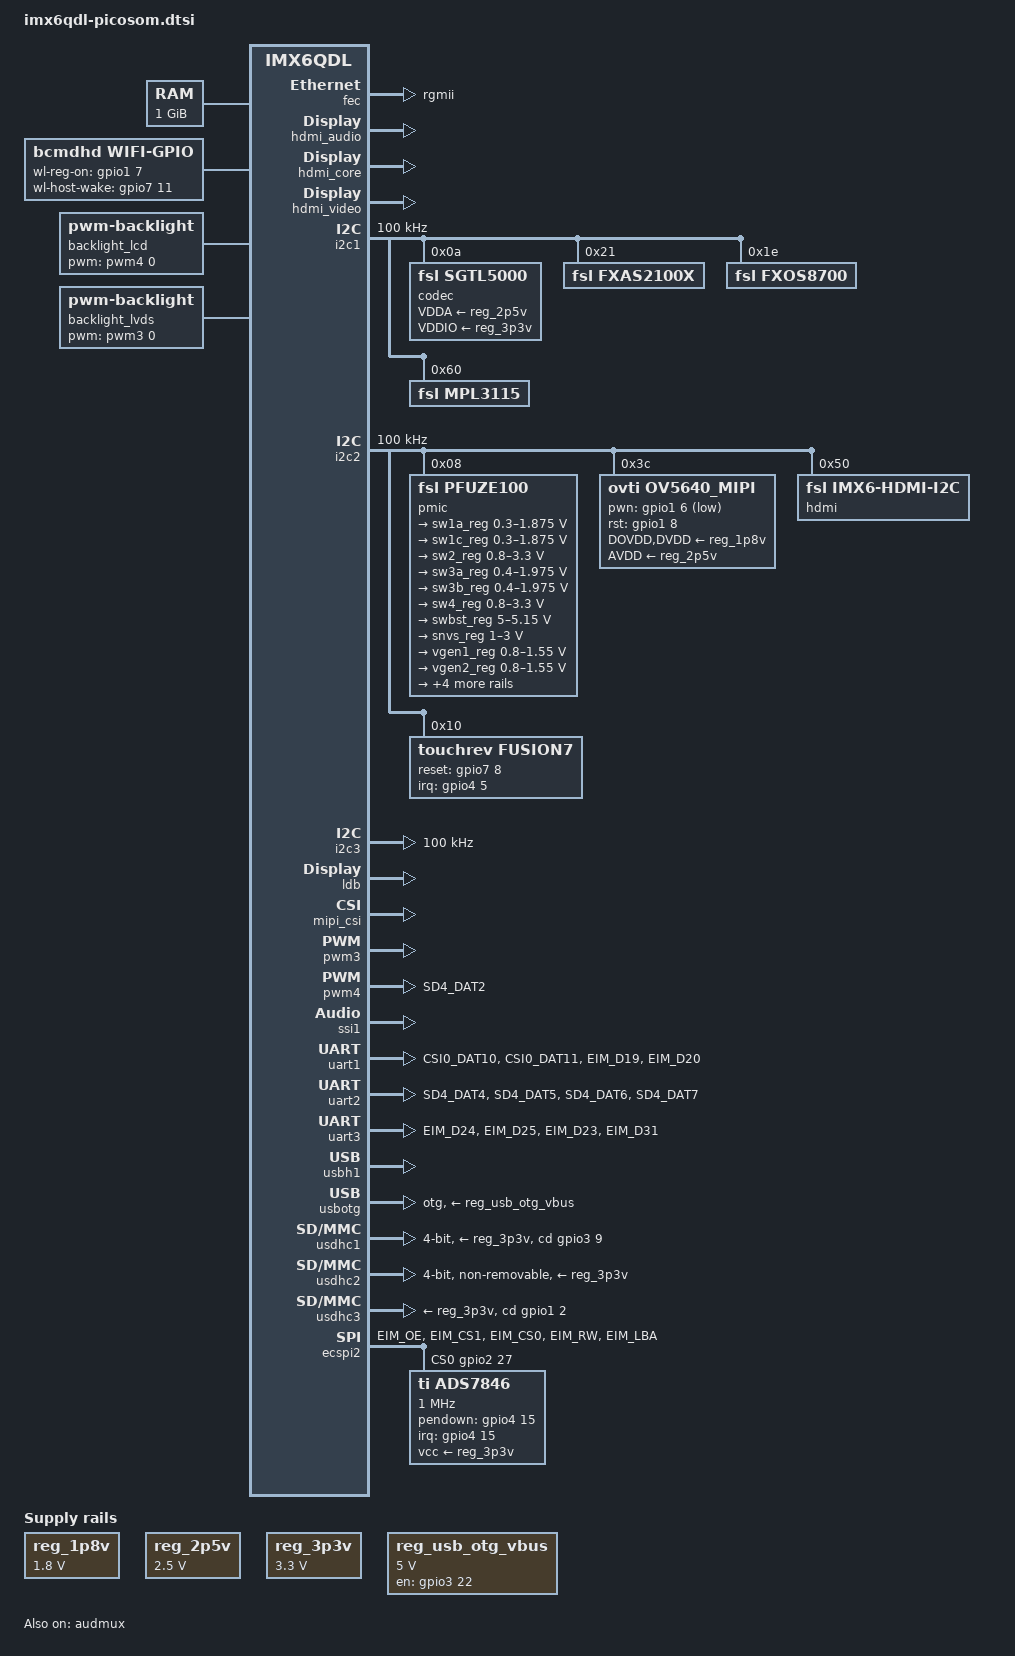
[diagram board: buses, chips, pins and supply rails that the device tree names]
/*
 * Copyright 2015 Technexion Ltd.
 * Copyright 2012 Freescale Semiconductor, Inc.
 * Copyright 2011 Linaro Ltd.
 *
 * The code contained herein is licensed under the GNU General Public
 * License. You may obtain a copy of the GNU General Public License
 * Version 2 or later at the following locations:
 *
 * http://www.opensource.org/licenses/gpl-license.html
 * http://www.gnu.org/copyleft/gpl.html
 */

/ {
	aliases {
		mxcfb0 = &mxcfb1;
		mxcfb1 = &mxcfb2;
		mxcfb2 = &mxcfb3;
		mxcfb3 = &mxcfb4;
	};

	memory {
		reg = <0x10000000 0x40000000>;
	};

	regulators {
		compatible = "simple-bus";

		reg_1p8v: 1p8v {
			compatible = "regulator-fixed";
			regulator-name = "1P8V";
			regulator-min-microvolt = <1800000>;
			regulator-max-microvolt = <1800000>;
			regulator-always-on;
		};

		reg_2p5v: 2p5v {
			compatible = "regulator-fixed";
			regulator-name = "2P5V";
			regulator-min-microvolt = <2500000>;
			regulator-max-microvolt = <2500000>;
			regulator-always-on;
		};

		reg_3p3v: 3p3v {
			compatible = "regulator-fixed";
			regulator-name = "3P3V";
			regulator-min-microvolt = <3300000>;
			regulator-max-microvolt = <3300000>;
			regulator-always-on;
		};

		reg_usb_otg_vbus: usb_otg_vbus {
			compatible = "regulator-fixed";
			regulator-name = "usb_otg_vbus";
			regulator-min-microvolt = <5000000>;
			regulator-max-microvolt = <5000000>;
			gpio = <&gpio3 22 0>;
			enable-active-high;
		};
	};

	sound {
		compatible = "fsl,picosom-imx6-sgtl5000",
                             "fsl,imx-audio-sgtl5000";
		model = "picosom-imx6-sgtl5000";
		cpu-dai = <&ssi1>;
		audio-codec = <&codec>;
		audio-routing =
			"MIC_IN", "Mic Jack",
			"Mic Jack", "Mic Bias",
			"Headphone Jack", "HP_OUT";
		mux-int-port = <1>;
		mux-ext-port = <3>;
	};

        sound-spdif {
                compatible = "fsl,imx-audio-spdif";
                model = "imx-spdif";
                spdif-controller = <&spdif>;
                spdif-out;
        };

	sound-hdmi {
		compatible = "fsl,imx6q-audio-hdmi",
			     "fsl,imx-audio-hdmi";
		model = "imx-audio-hdmi";
		hdmi-controller = <&hdmi_audio>;
	};

	wifi {
		compatible = "bcmdhd,wifi-gpio";
		pinctrl-0 = <&pinctrl_wifi_ctrl>;
		wl-reg-on = <&gpio1 7 0>;
		wl-host-wake = <&gpio7 11 0>;
	};

	rfkill {
		compatible = "bcm,bcm43xx_rfkill";
		pinctrl-names = "default";
		pinctrl-0 = <&pinctrl_bt_ctrl>;
		bluetooth-on = <&gpio7 12 0>;
		bluetooth-reg-on = <&gpio7 12 0>;
		bluetooth-wake = <&gpio1 4 0>;
	};

	mxcfb1: fb@0 {
		compatible = "fsl,mxc_sdc_fb";
		disp_dev = "hdmi";
		interface_pix_fmt = "RGB24";
		mode_str ="1920x1080M@60";
		default_bpp = <32>;
		int_clk = <0>;
		late_init = <0>;
		status = "disabled";
	};

	mxcfb2: fb@1 {
		compatible = "fsl,mxc_sdc_fb";
		disp_dev = "ldb";
		interface_pix_fmt = "RGB666";
		default_bpp = <24>;
		int_clk = <0>;
		late_init = <0>;
		status = "disabled";
	};

	mxcfb3: fb@2 {
		compatible = "fsl,mxc_sdc_fb";
		disp_dev = "lcd";
		interface_pix_fmt = "RGB565";
		mode_str ="CLAA-WVGA";
		default_bpp = <16>;
		int_clk = <0>;
		late_init = <0>;
		status = "disabled";
	};

	mxcfb4: fb@3 {
		compatible = "fsl,mxc_sdc_fb";
		disp_dev = "ldb";
		interface_pix_fmt = "RGB666";
		mode_str ="LDB-XGA";
		default_bpp = <16>;
		int_clk = <0>;
		late_init = <0>;
		status = "disabled";
	};

	lcd@0 {
		compatible = "fsl,lcd";
		ipu_id = <0>;
		disp_id = <0>;
		default_ifmt = "RGB565";
		pinctrl-names = "default";
		pinctrl-0 = <&pinctrl_ipu1_1>;
		status = "okay";
	};

	backlight_lcd {
		compatible = "pwm-backlight";
		pwms = <&pwm4 0 5000000>;
		brightness-levels = <0 4 8 16 32 64 128 255>;
		default-brightness-level = <7>;
	};

	backlight_lvds {
		compatible = "pwm-backlight";
		pwms = <&pwm3 0 5000000>;
		brightness-levels = <0 4 8 16 32 64 128 255>;
		default-brightness-level = <7>;
	};

	v4l2_cap_0 {
		compatible = "fsl,imx6q-v4l2-capture";
		ipu_id = <0>;
		csi_id = <0>;
		mclk_source = <0>;
		status = "okay";
	};

	v4l2_out {
		compatible = "fsl,mxc_v4l2_output";
		status = "okay";
	};

};


&audmux {
	pinctrl-names = "default";
	pinctrl-0 = <&pinctrl_audmux_2>;
	status = "okay";
};


&fec {
	pinctrl-names = "default";
	pinctrl-0 = <&pinctrl_enet_3>;
	phy-mode = "rgmii";
	status = "okay";
};

&hdmi_audio {
	status = "okay";
};

&hdmi_core {
	ipu_id = <0>;
	disp_id = <0>;
	status = "okay";
};

&hdmi_video {
	fsl,phy_reg_vlev = <0x0294>;
	fsl,phy_reg_cksymtx = <0x800d>;
	status = "okay";
};

&i2c1 {
	clock-frequency = <100000>;
	pinctrl-names = "default";
	pinctrl-0 = <&pinctrl_i2c1_1>;
	status = "okay";

	codec: sgtl5000@0a {
		compatible = "fsl,sgtl5000";
		reg = <0x0a>;
		clocks = <&clks 201>;
		VDDA-supply = <&reg_2p5v>;
		VDDIO-supply = <&reg_3p3v>;
	};

	fxas2100x@21 {
		compatible = "fsl,fxas2100x";
		reg = <0x21>;
	};

	fxos8700@1e {
		compatible = "fsl,fxos8700";
		reg = <0x1e>;
	};

	mpl3115@60 {
		compatible = "fsl,mpl3115";
		reg = <0x60>;
	};
};

&i2c2 {
	clock-frequency = <100000>;
	pinctrl-names = "default";
	pinctrl-0 = <&pinctrl_i2c2_2>;
	status = "okay";

	pmic: pfuze100@08 {
		compatible = "fsl,pfuze100";
		reg = <0x08>;

		regulators {
			sw1a_reg: sw1ab {
				regulator-min-microvolt = <300000>;
				regulator-max-microvolt = <1875000>;
				regulator-boot-on;
				regulator-always-on;
				regulator-ramp-delay = <6250>;
			};

			sw1c_reg: sw1c {
				regulator-min-microvolt = <300000>;
				regulator-max-microvolt = <1875000>;
				regulator-boot-on;
				regulator-always-on;
				regulator-ramp-delay = <6250>;
			};

			sw2_reg: sw2 {
				regulator-min-microvolt = <800000>;
				regulator-max-microvolt = <3300000>;
				regulator-boot-on;
				regulator-always-on;
			};

			sw3a_reg: sw3a {
				regulator-min-microvolt = <400000>;
				regulator-max-microvolt = <1975000>;
				regulator-boot-on;
				regulator-always-on;
			};

			sw3b_reg: sw3b {
				regulator-min-microvolt = <400000>;
				regulator-max-microvolt = <1975000>;
				regulator-boot-on;
				regulator-always-on;
			};

			sw4_reg: sw4 {
				regulator-min-microvolt = <800000>;
				regulator-max-microvolt = <3300000>;
			};

			swbst_reg: swbst {
				regulator-min-microvolt = <5000000>;
				regulator-max-microvolt = <5150000>;
			};

			snvs_reg: vsnvs {
				regulator-min-microvolt = <1000000>;
				regulator-max-microvolt = <3000000>;
				regulator-boot-on;
				regulator-always-on;
			};

			vref_reg: vrefddr {
				regulator-boot-on;
				regulator-always-on;
			};

			vgen1_reg: vgen1 {
				regulator-min-microvolt = <800000>;
				regulator-max-microvolt = <1550000>;
			};

			vgen2_reg: vgen2 {
				regulator-min-microvolt = <800000>;
				regulator-max-microvolt = <1550000>;
				regulator-microvolts = <1500000>;
				regulator-microvolt = <1500000>;
				regulator-boot-on;
				regulator-always-on;
			};

			vgen3_reg: vgen3 {
				regulator-min-microvolt = <1800000>;
				regulator-max-microvolt = <3300000>;
			};

			vgen4_reg: vgen4 {
				regulator-min-microvolt = <1800000>;
				regulator-max-microvolt = <3300000>;
				regulator-always-on;
			};

			vgen5_reg: vgen5 {
				regulator-min-microvolt = <1800000>;
				regulator-max-microvolt = <3300000>;
				regulator-always-on;
			};

			vgen6_reg: vgen6 {
				regulator-min-microvolt = <1800000>;
				regulator-max-microvolt = <3300000>;
				regulator-always-on;
			};
		};
	};

	ov5640_mipi: ov5640_mipi@3c {
		compatible = "ovti,ov5640_mipi";
		reg = <0x3c>;
		clocks = <&clks 200>;
		clock-names = "csi_mclk";
		DOVDD-supply = <&reg_1p8v>;
		AVDD-supply = <&reg_2p5v>;
		DVDD-supply = <&reg_1p8v>;
		pwn-gpios = <&gpio1 6 1>;
		rst-gpios = <&gpio1 8 0>;
		ipu_id = <0>;
		csi_id = <0>;
		mclk = <24000000>;
		mclk_source = <0>;
	};

		hdmi: edid@50 {
		compatible = "fsl,imx6-hdmi-i2c";
		reg = <0x50>;
	};

	fusion7: fusion7@10 {
		compatible = "touchrev,fusion7";
		reg = <0x10>; /* The reg property describes the address of the device's resources within the address space defined by its parent bus.  */
		pinctrl-0 = <&pinctrl_gpio>;
		pinctrl-names = "default";
		interrupt-parent = <&gpio4>;
		interrupts = <5 0>;
		reset-gpios=<&gpio7 8 0>; /*pin264  SD3_RST GPIO(7, 8)   gpio200   Touchscreen Reset  Output*/
		touch_xmax=<1499>;
		touch_ymax=<899>;
		flip_x=<0>;
		flip_y=<0>;
	};
};

&i2c3 {
        clock-frequency = <100000>;
        pinctrl-names = "default";
        pinctrl-0 = <&pinctrl_i2c3_1>;
        status = "okay";
};

/*
For reference here, the PAD_CTL bitfield definition from
Documentation/devicetree/bindings/pinctrl/fsl,imx6q-pinctrl.txt

CONFIG bits definition:
PAD_CTL_HYS                     (1 << 16)
PAD_CTL_PUS_100K_DOWN           (0 << 14)
PAD_CTL_PUS_47K_UP              (1 << 14)
PAD_CTL_PUS_100K_UP             (2 << 14)
PAD_CTL_PUS_22K_UP              (3 << 14)
PAD_CTL_PUE                     (1 << 13)
PAD_CTL_PKE                     (1 << 12)
PAD_CTL_ODE                     (1 << 11)
PAD_CTL_SPEED_LOW               (1 << 6)
PAD_CTL_SPEED_MED               (2 << 6)
PAD_CTL_SPEED_HIGH              (3 << 6)
PAD_CTL_DSE_DISABLE             (0 << 3)
PAD_CTL_DSE_240ohm              (1 << 3)
PAD_CTL_DSE_120ohm              (2 << 3)
PAD_CTL_DSE_80ohm               (3 << 3)
PAD_CTL_DSE_60ohm               (4 << 3)
PAD_CTL_DSE_48ohm               (5 << 3)
PAD_CTL_DSE_40ohm               (6 << 3)
PAD_CTL_DSE_34ohm               (7 << 3)
PAD_CTL_SRE_FAST                (1 << 0)
PAD_CTL_SRE_SLOW                (0 << 0)

Example, the Control Pad Setting

    0x0f0b0

corresponds to:

   0b1111000010110000

which is:

   PAD_CTL_PUS_22K_UP | PAD_CTL_PUE | PAD_CTL_PKE |
   PAD_CTL_SPEED_MED | PAD_CTL_DSE_40ohm

For more information about this, refer to the IOMUXC section of the i.MX6
reference manual.

*/

&iomuxc {
	pinctrl-names = "default";
	pinctrl-0 = <&pinctrl_hog_1>;

	imx6qdl-picosom {
		pinctrl_hog_1: hoggrp-1 {
			fsl,pins = <
				MX6QDL_PAD_GPIO_0__CCM_CLKO1     	0x130b0
				MX6QDL_PAD_EIM_D22__USB_OTG_PWR		0x80000000	/* USB Power Enable */
				MX6QDL_PAD_GPIO_2__GPIO1_IO02		0x80000000	/* USDHC3 CD */
				MX6QDL_PAD_EIM_DA9__GPIO3_IO09		0x80000000	/* USDHC1 CD */
				MX6QDL_PAD_GPIO_0__CCM_CLKO1		0x000b0		/* SGTL5000 sys_mclk */
				MX6QDL_PAD_GPIO_6__GPIO1_IO06		0x0b0b0		/* ov5640 mipi powerdown */
				MX6QDL_PAD_GPIO_8__GPIO1_IO08		0x000b0		/* ov5640 mipi reset */
				MX6QDL_PAD_GPIO_3__CCM_CLKO2		0x000b0		/* ov5640 mclk */
				MX6QDL_PAD_EIM_D29__GPIO3_IO29   	0x80000000
				MX6QDL_PAD_ENET_RXD0__XTALOSC_REF_CLK_32K      0x000b0  /* wifi LPO 32K Hz clock */
			>;
		};
	};
	gpio {
		pinctrl_gpio: gpiogrp {
			fsl,pins = <
                                MX6QDL_PAD_EIM_DA12__GPIO3_IO12   0x4001b0b0 /* GPIO3_12 EDM pin 255 */
                                MX6QDL_PAD_EIM_DA11__GPIO3_IO11   0x4001b0b0 /* GPIO3_11 EDM pin 256 */
                                MX6QDL_PAD_EIM_DA10__GPIO3_IO10   0x4001b0b0 /* GPIO3_10 EDM pin 257 */
                                MX6QDL_PAD_EIM_D27__GPIO3_IO27    0x4001b0b0 /* GPIO3_27 EDM pin 258 */
                                MX6QDL_PAD_EIM_D26__GPIO3_IO26    0x4001b0b0 /* GPIO3_26 EDM pin 259 */
                                MX6QDL_PAD_EIM_BCLK__GPIO6_IO31   0x4001b0b0 /* GPIO6_31 EDM pin 260 */
                                MX6QDL_PAD_EIM_DA8__GPIO3_IO08    0x4001b0b0 /* GPIO3_8  EDM pin 261 */
                                MX6QDL_PAD_ENET_RX_ER__GPIO1_IO24 0x4001b0b0 /* GPIO1_24 EDM pin 262 */
                                MX6QDL_PAD_KEY_ROW4__GPIO4_IO15   0x4001b0b0 /* GPIO4_15 PICO pin 263 */
                                MX6QDL_PAD_SD3_RST__GPIO7_IO08    0x4001b0b0 /* GPIO7_8  EDM pin 264 */
			>;
		};
	};

	wifi_ctrl {
		pinctrl_wifi_ctrl: wifi_ctrlgrp {
			fsl,pins = <
				MX6QDL_PAD_GPIO_7__GPIO1_IO07     0x000b0    /* wifi-reg-on */
				MX6QDL_PAD_GPIO_16__GPIO7_IO11    0x80000000 /* wifi-host-wake */
			>;
		};
	};

	bluetooth_ctrl {
		pinctrl_bt_ctrl: bt_ctrlgrp {
			fsl,pins = <
				MX6QDL_PAD_GPIO_17__GPIO7_IO12	0x000b0		/* bluetooth-reg-on */
				MX6QDL_PAD_GPIO_4__GPIO1_IO04	0x000b0		/* bluetooth-wake */
                MX6QDL_PAD_GPIO_5__GPIO1_IO05   0x000b0     /* bluetooth-host-wake */
			>;
		};
	};

	pwm4 {
		pinctrl_pwm4_1: pwm4grp-1 {
			fsl,pins = <
				MX6QDL_PAD_SD4_DAT2__PWM4_OUT 0x1b0b1
			>;
		};
	};

	uart1 {
		pinctrl_uart1_2: uart1grp-2 {
			fsl,pins = <
				MX6QDL_PAD_CSI0_DAT10__UART1_TX_DATA 0x1b0b1
				MX6QDL_PAD_CSI0_DAT11__UART1_RX_DATA 0x1b0b1
				MX6QDL_PAD_EIM_D19__UART1_CTS_B 0x1b0b1
				MX6QDL_PAD_EIM_D20__UART1_RTS_B 0x1b0b1
			>;
		};
	};

	uart2 {
		pinctrl_uart2_2: uart2grp-2 {
			fsl,pins = <
				MX6QDL_PAD_SD4_DAT4__UART2_RX_DATA 0x1b0b1
				MX6QDL_PAD_SD4_DAT5__UART2_RTS_B 0x1b0b1
				MX6QDL_PAD_SD4_DAT6__UART2_CTS_B 0x1b0b1
				MX6QDL_PAD_SD4_DAT7__UART2_TX_DATA 0x1b0b1
			>;
		};
	};

	uart3 {
		pinctrl_uart3_3: uart3grp-3 {
			fsl,pins = <
				MX6QDL_PAD_EIM_D24__UART3_TX_DATA 0x1b0b1
				MX6QDL_PAD_EIM_D25__UART3_RX_DATA 0x1b0b1
				MX6QDL_PAD_EIM_D23__UART3_CTS_B   0x1b0b1
				MX6QDL_PAD_EIM_D31__UART3_RTS_B   0x1b0b1
			>;
		};
	};

	ecspi2 {
		pinctrl_ecspi2_1: ecspi2grp-1 {
			fsl,pins = <
				MX6QDL_PAD_EIM_OE__ECSPI2_MISO  0x1b0b1
				MX6QDL_PAD_EIM_CS1__ECSPI2_MOSI 0x1b0b1
				MX6QDL_PAD_EIM_CS0__ECSPI2_SCLK 0x1b0b1
				MX6QDL_PAD_EIM_RW__GPIO2_IO26 0x000f0b0
				MX6QDL_PAD_EIM_LBA__GPIO2_IO27 0x000f0b0
/*
				MX6QDL_PAD_EIM_RW__ECSPI2_SS0 0x000a0
				MX6QDL_PAD_EIM_LBA__ECSPI2_SS1 0x000a0
*/
			>;
		};
	};
};

&ldb {
	status = "okay";

	lvds-channel@0 {
		fsl,data-mapping = "spwg";
		fsl,data-width = <24>;
		primary;
		status = "okay";

		display-timings {
			native-mode = <&timing0>;
			timing0: hj070na {
				clock-frequency = <51000000>;
				hactive = <1024>;
				vactive = <600>;
				hback-porch = <90>;
				hfront-porch = <120>;
				vback-porch = <1>;
				vfront-porch = <1>;
				hsync-len = <100>;
				vsync-len = <33>;
			};
		};
	};
};

&mipi_csi {
	ipu_id = <0>;
	csi_id = <0>;
	v_channel = <0>;
	lanes = <2>;
	status = "okay";
};

&pwm3 {
	pinctrl-names = "default";
	pinctrl-0 = <&pinctrl_pwm3_1>;
	status = "okay";
};

&pwm4 {
	pinctrl-names = "default";
	pinctrl-0 = <&pinctrl_pwm4_1>;
	status = "okay";
};

&ssi1 {
	fsl,mode = "i2s-slave";
	status = "okay";
};

&uart1 {
	pinctrl-names = "default";
	pinctrl-0 = <&pinctrl_uart1_2>;
	fsl,uart-has-rtscts;
	status = "okay";
};

&uart2 {
	pinctrl-names = "default";
	pinctrl-0 = <&pinctrl_uart2_2>;
	fsl,uart-has-rtscts;
	status = "okay";
};

&uart3 {
        pinctrl-names = "default";
        pinctrl-0 = <&pinctrl_uart3_3>;
        fsl,uart-has-rtscts;
        status = "okay";
};

&usbh1 {
	status = "okay";
};

&usbotg {
	vbus-supply = <&reg_usb_otg_vbus>;
	pinctrl-names = "default";
	pinctrl-0 = <&pinctrl_usbotg_2>;
	disable-over-current;
	dr_mode = "otg";
	status = "okay";
};

&usdhc1 {  /* Baseboard microSD slot */
	pinctrl-names = "default";
	pinctrl-0 = <&pinctrl_usdhc1_1>;
	bus-width = <4>;
	vmmc-supply = <&reg_3p3v>;
	cd-gpios = <&gpio3 9 0>;
	status = "okay";
};

&usdhc2 {  /* Broadcom Wifi/BT  */
	pinctrl-names = "default";
	pinctrl-0 = <&pinctrl_usdhc2_2>;
	bus-width = <4>;
	non-removable;
	sdio-force-rescan;
	vmmc-supply = <&reg_3p3v>;
	keep-power-in-suspend;
	status = "okay";
};

&usdhc3 { /* SOM microSD slot */
	pinctrl-names = "default";
	pinctrl-0 = <&pinctrl_usdhc3_1>;
	vmmc-supply = <&reg_3p3v>;
	cd-gpios = <&gpio1 2 0>;
	status = "okay";
};

&ecspi2 {
    fsl,spi-num-chipselects = <1>;
    cs-gpios = <&gpio2 27 0>; /* CS0 */
    pinctrl-names = "default";
    pinctrl-0 = <&pinctrl_ecspi2_1>;
    status = "okay";

    ads7846@0 {
        reg = <0>;  /* CS0 */
        compatible = "ti,ads7846";
        pinctrl-names = "default";
        interrupt-parent = <&gpio4>;
        interrupts = <15 0>;
        spi-max-frequency = <1000000>;
        pendown-gpio = <&gpio4 15 0>;
        vcc-supply = <&reg_3p3v>;

        ti,x-min = /bits/ 16 <0>;
        ti,x-max = /bits/ 16 <4095>;
        ti,y-min = /bits/ 16 <0>;
        ti,y-max = /bits/ 16 <4095>;
        ti,pressure-max = /bits/ 16 <1024>;
        ti,x-plate-ohms = /bits/ 16 <90>;
        ti,y-plate-ohms = /bits/ 16 <90>;
        ti,debounce-max = /bits/ 16 <70>;
        ti,debounce-tol = /bits/ 16 <3>;
        ti,debounce-rep = /bits/ 16 <2>;
        ti,settle-delay-usec = /bits/ 16 <150>;
        linux,wakeup;
    };
};



/*&ecspi2 {
	pinctrl-names = "default";
	pinctrl-0 = <&pinctrl_ecspi2_1>;
	fsl,spi-num-chipselects = <2>;
	cs-gpios = <&gpio2 26 0 &gpio2 27 0>;
	status = "okay";
};*/
